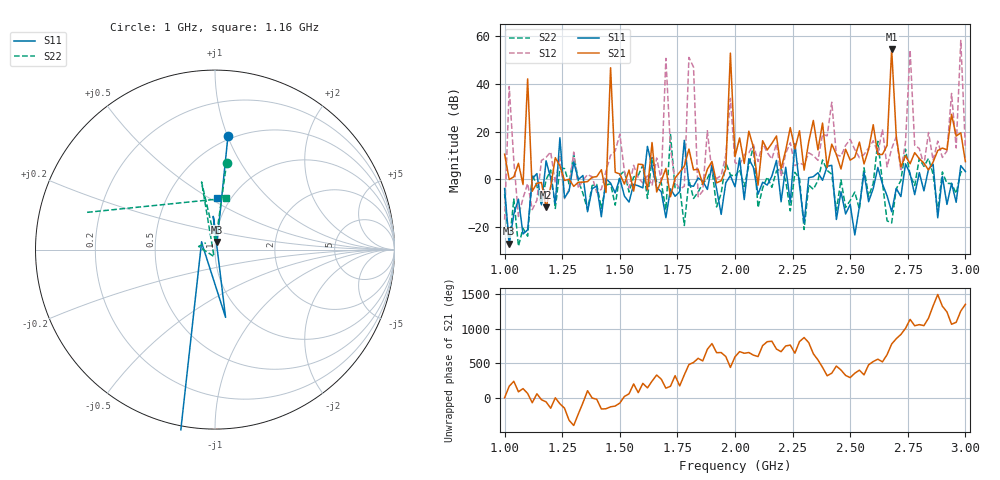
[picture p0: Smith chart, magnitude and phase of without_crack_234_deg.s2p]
# MHz S MA R 50
!  freq  S11  S21  S12  S22
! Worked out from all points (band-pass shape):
!   101 points, 1 GHz to 3 GHz, reference 50 ohm
!   highest |S21| = 54.58 dB at 2.68 GHz (marker M1); lowest = -11.8 dB at 1.18 GHz (marker M2)
!   |S21| within 3 dB of the highest: 1.979444 GHz to 1.980623 GHz (1.179 MHz wide, 0.0595 % of centre); 2.678516 GHz to 2.68164 GHz (3.125 MHz wide, 0.117 % of centre)
!   lowest |S11| = -27.1 dB at 1.02 GHz (marker M3), VSWR 1.09, Z = 51 + j4.34 ohm
!   |S11| at or under -10 dB: 1.005 GHz to 1.055 GHz (49.54 MHz wide, 4.81 % of centre); 1.062 GHz to 1.111 GHz (48.26 MHz wide, 4.44 % of centre); 2.47 GHz to 2.542 GHz (71.89 MHz wide, 2.87 % of centre) (the widest 3 of 14)
!   |S22| runs from -28.1 to 18.8 dB; largest |S21 - S12| = 8.2e+02
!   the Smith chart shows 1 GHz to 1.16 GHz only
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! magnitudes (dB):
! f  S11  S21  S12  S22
! 1 GHz  -3.9  10.5  -17.0  -6.2
! 1.02 GHz  -27.1  -0.1  38.9  -27.6
! 1.1 GHz  -21.3  42.1  -1.8  -23.9
! 1.18 GHz  7.7  -11.8  9.2  -0.2
! 1.34 GHz  1.6  -1.2  -0.5  -5.9
! 1.44 GHz  0.2  -5.6  3.4  -2.4
! 1.46 GHz  -1.6  46.8  10.1  -1.9
! 1.68 GHz  -5.2  -0.7  -0.5  -1.5
! 1.7 GHz  -16.2  4.5  50.7  -12.9
! 1.76 GHz  -5.2  3.0  -4.1  -3.5
! 1.8 GHz  -2.6  12.7  51.1  -0.3
! 1.84 GHz  0.5  4.2  -7.4  -5.4
! 1.96 GHz  -1.5  4.3  10.1  7.0
! 1.98 GHz  1.5  52.9  33.9  1.8
! 2 GHz  -3.1  9.5  7.0  1.3
! 2.34 GHz  1.1  24.7  9.9  -4.3
! 2.68 GHz  -13.6  54.6  12.9  -18.3
! 2.72 GHz  -7.3  5.2  3.3  -0.5
! 2.76 GHz  2.3  6.5  54.2  1.8
! 2.82 GHz  -4.9  6.8  6.0  5.4
! 2.98 GHz  5.7  19.5  58.3  3.0
! 3 GHz  3.2  7.4  12.9  3.8
